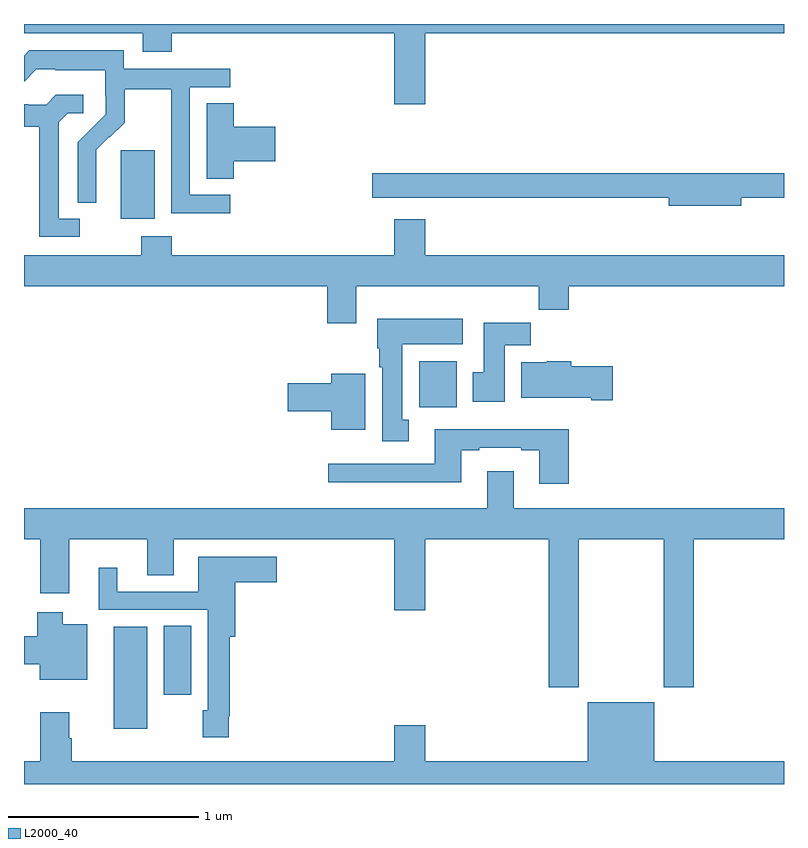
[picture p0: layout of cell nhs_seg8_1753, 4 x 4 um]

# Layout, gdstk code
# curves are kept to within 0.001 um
import gdstk
lib = gdstk.Library(unit=1e-6, precision=1e-09)
def R(c, l, rs):  # rectangles x0, y0, x1, y1
    for r in rs: c.add(gdstk.rectangle(r[:2], r[2:], *l))
def P(c, l, *ps):  # polygons
    for p in ps: c.add(gdstk.Polygon(p, *l))
L2000_40 = (2000, 40)

nhs_seg8_1753 = lib.new_cell('nhs_seg8_1753')
R(nhs_seg8_1753, L2000_40, [(223.472,1094.192,223.648,1094.728), (223.736,1094.37,223.879,1094.732), (225.08,1095.884,225.277,1096.126), (223.508,1096.874,223.687,1097.235)])
P(nhs_seg8_1753, L2000_40, [(225.112,1097.852),(227,1097.852),(227,1097.9),(223,1097.9),(223,1097.852),(223.625,1097.852),(223.625,1097.753),(223.778,1097.753),(223.778,1097.852),(224.948,1097.852),(224.948,1097.478),(225.112,1097.478)],
  [(224.086,1097.001),(223.872,1097.001),(223.872,1097.568),(224.086,1097.568),(224.086,1097.664),(223.524,1097.664),(223.524,1097.761),(223.027,1097.761),(223,1097.734),(223,1097.596),(223.065,1097.661),(223.165,1097.661),(223.165,1097.657),(223.428,1097.657),(223.428,1097.523),(223.43,1097.523),(223.43,1097.426),(223.284,1097.278),(223.284,1096.96),(223.38,1096.96),(223.379,1097.237),(223.449,1097.307),(223.452,1097.304),(223.529,1097.381),(223.529,1097.556),(223.774,1097.556),(223.774,1097.332),(223.776,1097.332),(223.776,1096.903),(224.086,1096.903)],
  [(223.294,1096.875),(223.183,1096.875),(223.183,1097.383),(223.23,1097.43),(223.312,1097.43),(223.312,1097.527),(223.168,1097.527),(223.116,1097.475),(223.022,1097.475),(223.022,1097.478),(223,1097.478),(223,1097.36),(223.079,1097.36),(223.079,1096.779),(223.294,1096.779)],
  [(224.105,1097.177),(224.323,1097.177),(224.323,1097.36),(224.105,1097.36),(224.105,1097.483),(223.961,1097.483),(223.961,1097.086),(224.105,1097.086)],
  [(226.774,1096.986),(227,1096.986),(227,1097.114),(225.216,1097.114),(225.216,1097.115),(224.832,1097.115),(224.832,1096.985),(225.216,1096.985),(225.216,1096.986),(226.394,1096.986),(226.394,1096.943),(226.774,1096.943)],
  [(224.749,1096.52),(225.709,1096.52),(225.709,1096.396),(225.866,1096.396),(225.866,1096.52),(227,1096.52),(227,1096.684),(225.112,1096.684),(225.112,1096.873),(224.948,1096.873),(224.948,1096.684),(223.778,1096.684),(223.778,1096.783),(223.618,1096.783),(223.618,1096.684),(223,1096.684),(223,1096.52),(224.597,1096.52),(224.597,1096.326),(224.749,1096.326)],
  [(225.025,1095.818),(224.992,1095.818),(224.992,1096.214),(225.31,1096.214),(225.31,1096.348),(224.858,1096.348),(224.858,1096.194),(224.87,1096.194),(224.87,1096.094),(224.885,1096.094),(224.885,1095.705),(225.025,1095.705)],
  [(225.529,1096.208),(225.668,1096.208),(225.668,1096.327),(225.419,1096.327),(225.419,1096.068),(225.362,1096.068),(225.362,1095.912),(225.529,1095.912)],
  [(226.099,1096.098),(225.881,1096.098),(225.881,1096.126),(225.75,1096.126),(225.75,1096.12),(225.617,1096.12),(225.617,1095.932),(225.986,1095.932),(225.986,1095.92),(226.099,1095.92)],
  [(224.797,1096.06),(224.618,1096.06),(224.618,1096.01),(224.388,1096.01),(224.388,1095.863),(224.618,1095.863),(224.618,1095.764),(224.797,1095.764)],
  [(225.866,1095.766),(225.161,1095.766),(225.161,1095.585),(224.601,1095.585),(224.601,1095.488),(225.301,1095.488),(225.301,1095.657),(225.397,1095.657),(225.397,1095.669),(225.617,1095.669),(225.617,1095.657),(225.713,1095.657),(225.713,1095.48),(225.866,1095.48)],
  [(225.921,1095.188),(226.366,1095.188),(226.366,1094.409),(226.526,1094.409),(226.526,1095.188),(227,1095.188),(227,1095.352),(225.577,1095.352),(225.577,1095.547),(225.437,1095.547),(225.437,1095.352),(223,1095.352),(223,1095.188),(223.085,1095.188),(223.085,1094.904),(223.237,1094.904),(223.237,1095.188),(223.649,1095.188),(223.649,1094.998),(223.789,1094.998),(223.789,1095.188),(224.948,1095.188),(224.948,1094.814),(225.112,1094.814),(225.112,1095.188),(225.761,1095.188),(225.761,1094.409),(225.921,1094.409)],
  [(224.077,1094.257),(224.084,1094.257),(224.084,1094.675),(224.111,1094.675),(224.111,1094.963),(224.329,1094.963),(224.329,1095.097),(223.916,1095.097),(223.916,1094.913),(223.492,1094.913),(223.492,1095.037),(223.394,1095.037),(223.394,1094.817),(223.968,1094.817),(223.968,1094.289),(223.942,1094.289),(223.942,1094.145),(224.077,1094.145)],
  [(223.333,1094.74),(223.204,1094.74),(223.204,1094.803),(223.07,1094.803),(223.07,1094.678),(223,1094.678),(223,1094.531),(223.082,1094.531),(223.082,1094.45),(223.333,1094.45)],
  [(225.968,1094.329),(225.968,1094.02),(225.112,1094.02),(225.112,1094.209),(224.948,1094.209),(224.948,1094.02),(223.25,1094.02),(223.25,1094.141),(223.237,1094.141),(223.237,1094.278),(223.085,1094.278),(223.085,1094.02),(223,1094.02),(223,1093.9),(227,1093.9),(227,1094.02),(226.318,1094.02),(226.318,1094.329)])

lib.write_gds('nhs_seg8_1753.gds')
